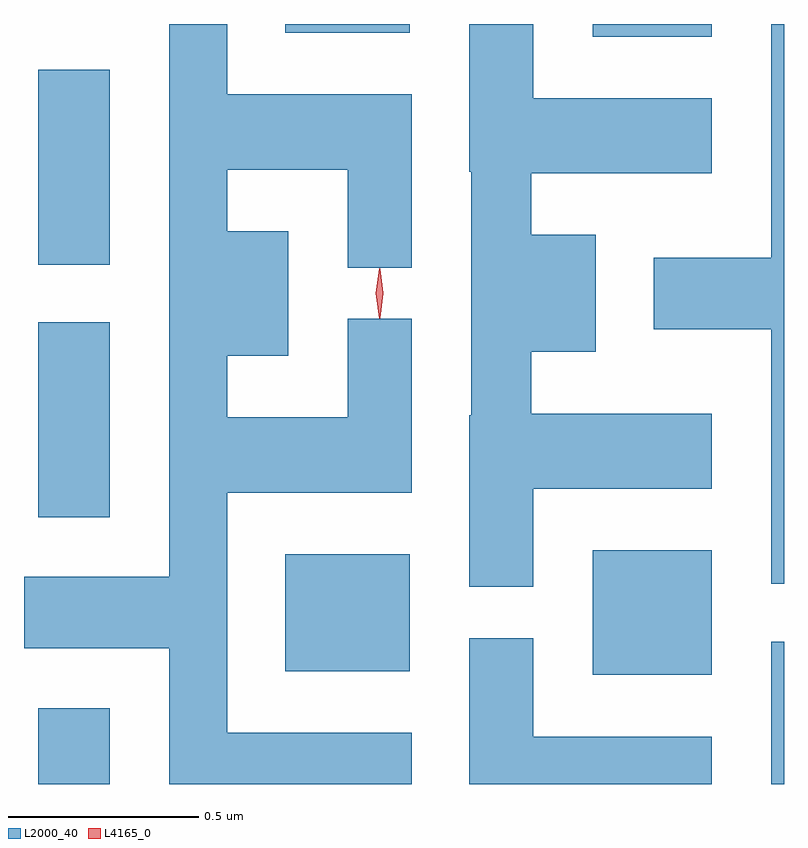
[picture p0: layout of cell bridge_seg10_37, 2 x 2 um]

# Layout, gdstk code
import gdstk
lib = gdstk.Library(unit=1e-6, precision=1e-09)
def R(c, l, rs):  # rectangles x0, y0, x1, y1
    for r in rs: c.add(gdstk.rectangle(r[:2], r[2:], *l))
def P(c, l, *ps):  # polygons
    for p in ps: c.add(gdstk.Polygon(p, *l))
L2000_40 = (2000, 40)
L4165_0 = (4165, 0)

bridge_seg10_37 = lib.new_cell('bridge_seg10_37')
R(bridge_seg10_37, L2000_40, [(1749.236,2159.479,1749.424,2159.679), (1751.166,2159.479,1751.199,2159.854), (1750.696,2159.766,1751.009,2160.094), (1749.886,2159.776,1750.214,2160.084), (1749.236,2160.181,1749.424,2160.694), (1749.236,2160.846,1749.424,2161.359), (1750.696,2161.446,1751.009,2161.479), (1749.886,2161.456,1750.214,2161.479)])
P(bridge_seg10_37, L2000_40, [(1750.539,2160.256),(1751.009,2160.256),(1751.009,2160.454),(1750.534,2160.454),(1750.534,2160.616),(1750.704,2160.616),(1750.704,2160.924),(1750.534,2160.924),(1750.534,2161.086),(1751.009,2161.086),(1751.009,2161.284),(1750.539,2161.284),(1750.539,2161.479),(1750.371,2161.479),(1750.371,2161.09),(1750.376,2161.09),(1750.376,2160.45),(1750.371,2160.45),(1750.371,2159.998),(1750.539,2159.998)],
  [(1750.219,2159.614),(1749.734,2159.614),(1749.734,2160.246),(1750.219,2160.246),(1750.219,2160.703),(1750.051,2160.703),(1750.051,2160.444),(1749.734,2160.444),(1749.734,2160.606),(1749.894,2160.606),(1749.894,2160.934),(1749.734,2160.934),(1749.734,2161.096),(1750.051,2161.096),(1750.051,2160.838),(1750.219,2160.838),(1750.219,2161.294),(1749.734,2161.294),(1749.734,2161.479),(1749.581,2161.479),(1749.581,2160.024),(1749.199,2160.024),(1749.199,2159.836),(1749.581,2159.836),(1749.581,2159.479),(1750.219,2159.479)],
  [(1751.199,2161.479),(1751.166,2161.479),(1751.166,2160.864),(1750.856,2160.864),(1750.856,2160.676),(1751.166,2160.676),(1751.166,2160.006),(1751.199,2160.006)],
  [(1751.009,2159.604),(1750.539,2159.604),(1750.539,2159.863),(1750.371,2159.863),(1750.371,2159.479),(1751.009,2159.479)])
P(bridge_seg10_37, L4165_0, [(1750.135,2160.704),(1750.134,2160.705),(1750.125,2160.77),(1750.134,2160.835),(1750.135,2160.836),(1750.136,2160.835),(1750.145,2160.77),(1750.136,2160.705)])

lib.write_gds('bridge_seg10_37.gds')
